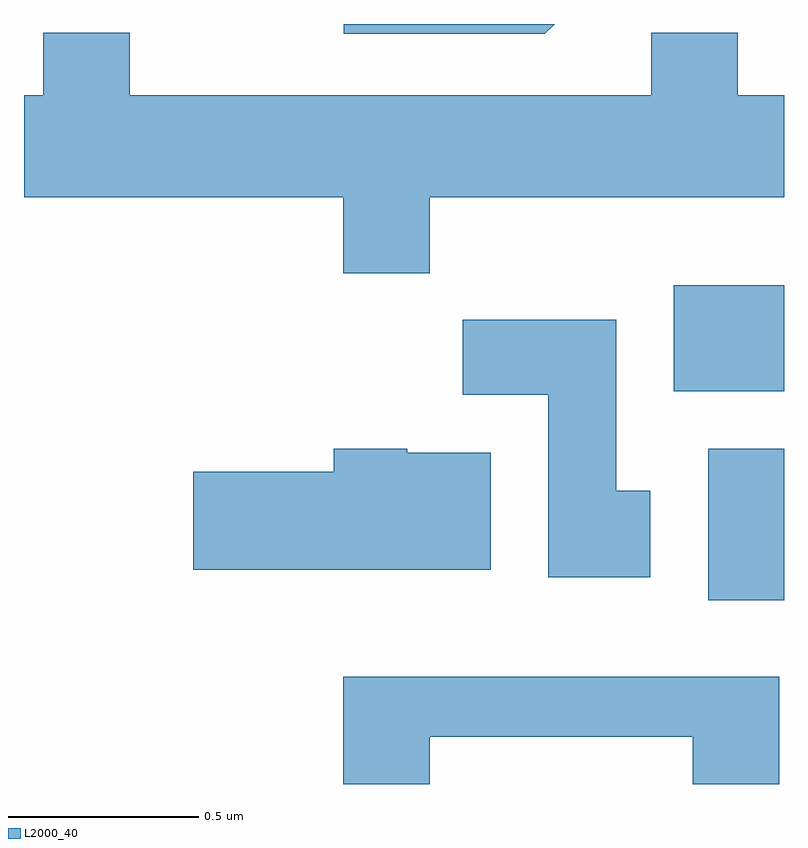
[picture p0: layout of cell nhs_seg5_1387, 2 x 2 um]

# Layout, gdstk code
import gdstk
lib = gdstk.Library(unit=1e-6, precision=1e-09)
def R(c, l, rs):  # rectangles x0, y0, x1, y1
    for r in rs: c.add(gdstk.rectangle(r[:2], r[2:], *l))
def P(c, l, *ps):  # polygons
    for p in ps: c.add(gdstk.Polygon(p, *l))
L2000_40 = (2000, 40)

nhs_seg5_1387 = lib.new_cell('nhs_seg5_1387')
R(nhs_seg5_1387, L2000_40, [(197.411,1413.556,197.611,1413.954), (197.321,1414.106,197.611,1414.384)])
P(nhs_seg5_1387, L2000_40, [(197.008,1415.072),(196.453,1415.072),(196.453,1415.046),(196.982,1415.046)],
  [(196.679,1414.616),(197.611,1414.616),(197.611,1414.884),(197.489,1414.884),(197.489,1415.049),(197.261,1415.049),(197.261,1414.884),(195.889,1414.884),(195.889,1415.049),(195.661,1415.049),(195.661,1414.884),(195.611,1414.884),(195.611,1414.616),(196.451,1414.616),(196.451,1414.416),(196.679,1414.416)],
  [(197.259,1413.844),(197.169,1413.844),(197.169,1414.294),(196.766,1414.294),(196.766,1414.096),(196.991,1414.096),(196.991,1413.616),(197.259,1413.616)],
  [(196.839,1413.944),(196.62,1413.944),(196.62,1413.954),(196.426,1413.954),(196.426,1413.894),(196.056,1413.894),(196.056,1413.636),(196.839,1413.636)],
  [(196.679,1413.196),(197.371,1413.196),(197.371,1413.072),(197.599,1413.072),(197.599,1413.354),(196.451,1413.354),(196.451,1413.072),(196.679,1413.072)])

lib.write_gds('nhs_seg5_1387.gds')
